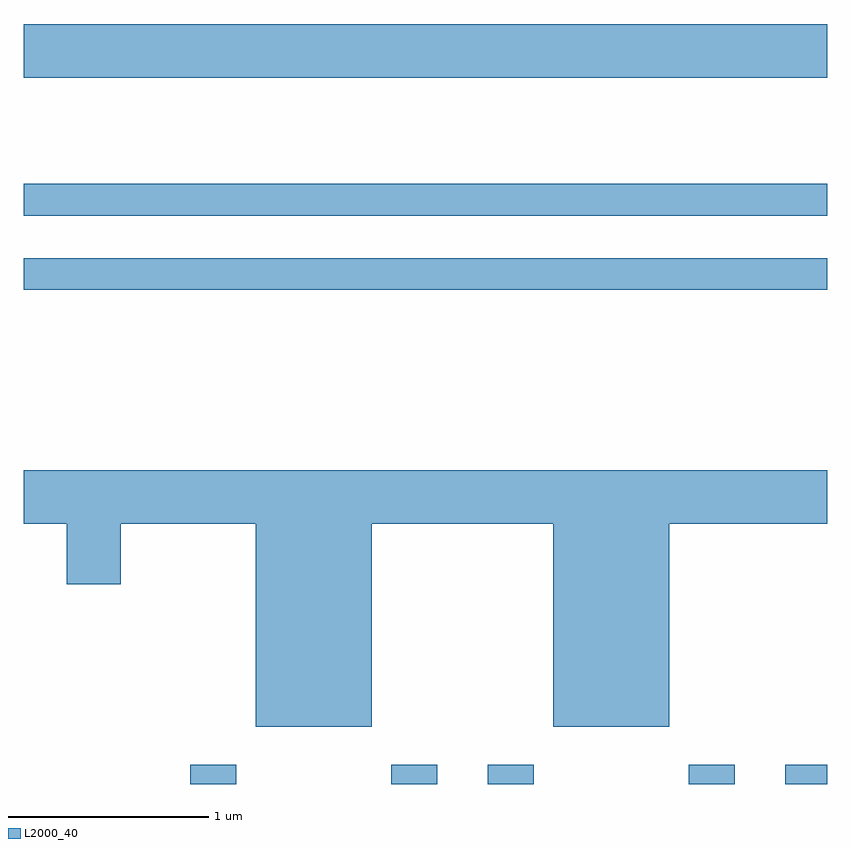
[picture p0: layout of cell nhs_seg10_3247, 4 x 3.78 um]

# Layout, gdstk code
import gdstk
lib = gdstk.Library(unit=1e-6, precision=1e-09)
def R(c, l, rs):  # rectangles x0, y0, x1, y1
    for r in rs: c.add(gdstk.rectangle(r[:2], r[2:], *l))
def P(c, l, *ps):  # polygons
    for p in ps: c.add(gdstk.Polygon(p, *l))
L2000_40 = (2000, 40)

nhs_seg10_3247 = lib.new_cell('nhs_seg10_3247')
R(nhs_seg10_3247, L2000_40, [(280.441,2212.522,280.669,2212.619), (281.441,2212.522,281.669,2212.619), (281.921,2212.522,282.149,2212.619), (282.921,2212.522,283.149,2212.619), (283.401,2212.522,283.611,2212.619), (279.611,2214.981,283.611,2215.139), (279.611,2215.351,283.611,2215.509), (279.611,2216.036,283.611,2216.304)])
P(nhs_seg10_3247, L2000_40, [(281.344,2213.816),(282.246,2213.816),(282.246,2212.806),(282.824,2212.806),(282.824,2213.816),(283.611,2213.816),(283.611,2214.084),(279.611,2214.084),(279.611,2213.816),(279.826,2213.816),(279.826,2213.516),(280.094,2213.516),(280.094,2213.816),(280.766,2213.816),(280.766,2212.806),(281.344,2212.806)])

lib.write_gds('nhs_seg10_3247.gds')
